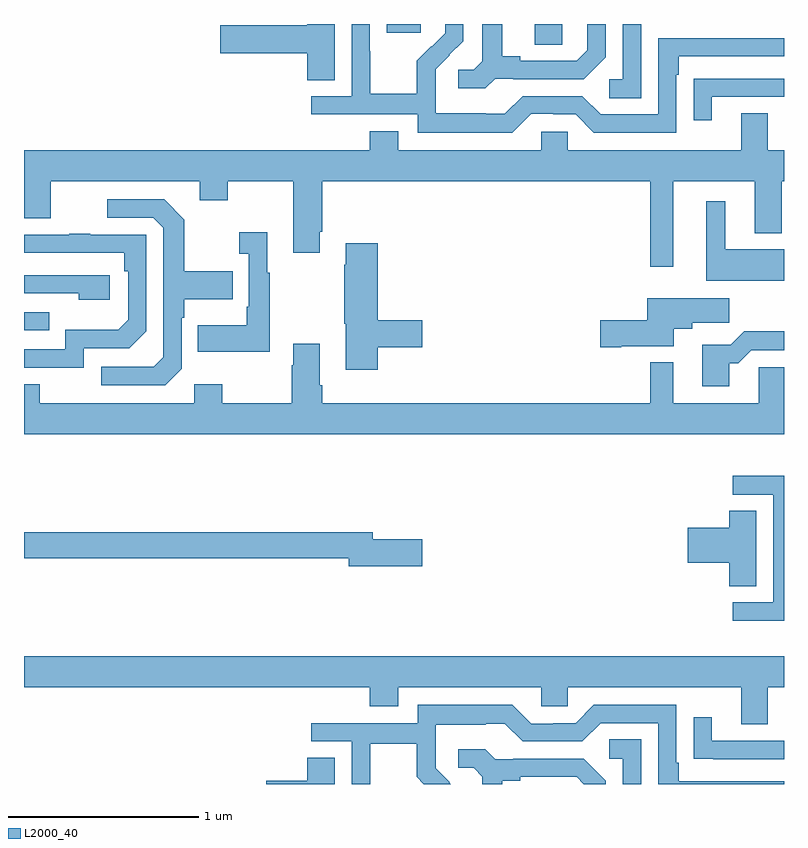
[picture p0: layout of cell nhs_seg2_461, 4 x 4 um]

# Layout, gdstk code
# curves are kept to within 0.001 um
import gdstk
lib = gdstk.Library(unit=1e-6, precision=1e-09)
def R(c, l, rs):  # rectangles x0, y0, x1, y1
    for r in rs: c.add(gdstk.rectangle(r[:2], r[2:], *l))
def P(c, l, *ps):  # polygons
    for p in ps: c.add(gdstk.Polygon(p, *l))
L2000_40 = (2000, 40)

nhs_seg2_461 = lib.new_cell('nhs_seg2_461')
R(nhs_seg2_461, L2000_40, [(133,644.187,133.133,644.283), (135.689,645.691,135.834,645.8), (134.909,645.753,135.088,645.8)])
P(nhs_seg2_461, L2000_40, [(135.48,645.513),(135.574,645.513),(135.574,645.51),(135.946,645.51),(136.062,645.626),(136.062,645.8),(135.965,645.8),(135.965,645.663),(135.908,645.606),(135.613,645.606),(135.613,645.629),(135.517,645.629),(135.517,645.8),(135.413,645.8),(135.413,645.605),(135.366,645.558),(135.285,645.558),(135.285,645.461),(135.428,645.461)],
  [(135.669,645.327),(135.785,645.327),(135.785,645.324),(135.903,645.324),(135.999,645.228),(136.434,645.228),(136.434,645.533),(136.447,645.533),(136.447,645.63),(137,645.63),(137,645.726),(136.338,645.726),(136.338,645.324),(136.035,645.324),(135.939,645.42),(135.624,645.42),(135.531,645.327),(135.431,645.327),(135.431,645.331),(135.168,645.331),(135.168,645.465),(135.166,645.465),(135.166,645.562),(135.312,645.71),(135.312,645.8),(135.218,645.8),(135.218,645.752),(135.147,645.681),(135.144,645.684),(135.067,645.607),(135.067,645.433),(134.823,645.433),(134.823,645.656),(134.82,645.656),(134.82,645.8),(134.724,645.8),(134.724,645.42),(134.511,645.42),(134.511,645.324),(135.072,645.324),(135.072,645.227),(135.569,645.227)],
  [(134.635,645.8),(134.492,645.8),(134.492,645.794),(134.034,645.794),(134.034,645.647),(134.492,645.647),(134.492,645.505),(134.635,645.505)],
  [(136.248,645.8),(136.152,645.8),(136.152,645.51),(136.08,645.51),(136.08,645.409),(136.248,645.409)],
  [(136.621,645.417),(137,645.417),(137,645.513),(136.627,645.513),(136.627,645.512),(136.525,645.512),(136.525,645.294),(136.621,645.294)],
  [(136.417,644.972),(136.847,644.972),(136.847,644.699),(136.987,644.699),(136.987,644.972),(137,644.972),(137,645.136),(136.915,645.136),(136.915,645.331),(136.775,645.331),(136.775,645.136),(135.861,645.136),(135.861,645.234),(135.723,645.234),(135.723,645.136),(134.971,645.136),(134.971,645.235),(134.819,645.235),(134.819,645.136),(133,645.136),(133,644.972),(133.001,644.972),(133.001,644.778),(133.141,644.778),(133.141,644.972),(133.925,644.972),(133.925,644.873),(134.073,644.873),(134.073,644.972),(134.417,644.972),(134.417,644.595),(134.557,644.595),(134.557,644.707),(134.57,644.707),(134.57,644.972),(136.296,644.972),(136.296,644.523),(136.417,644.523)],
  [(133.83,643.986),(133.83,644.255),(133.843,644.255),(133.843,644.351),(134.099,644.351),(134.099,644.499),(133.843,644.499),(133.843,644.771),(133.737,644.877),(133.437,644.877),(133.437,644.781),(133.68,644.781),(133.734,644.727),(133.734,644.046),(133.683,643.995),(133.407,643.995),(133.407,643.899),(133.743,643.899)],
  [(137,644.614),(136.69,644.614),(136.69,644.866),(136.592,644.866),(136.592,644.45),(137,644.45)],
  [(134.293,644.491),(134.281,644.491),(134.281,644.704),(134.133,644.704),(134.133,644.591),(134.184,644.591),(134.184,644.311),(134.172,644.311),(134.172,644.215),(133.915,644.215),(133.915,644.075),(134.293,644.075)],
  [(133.314,644.094),(133.554,644.094),(133.644,644.184),(133.644,644.691),(133.349,644.691),(133.349,644.696),(133.237,644.696),(133.237,644.691),(133,644.691),(133,644.595),(133.528,644.595),(133.528,644.498),(133.548,644.498),(133.548,644.244),(133.495,644.191),(133.218,644.191),(133.218,644.088),(133,644.088),(133,643.992),(133.314,643.992)],
  [(134.861,644.098),(135.097,644.098),(135.097,644.24),(134.861,644.24),(134.861,644.647),(134.693,644.647),(134.693,644.534),(134.686,644.534),(134.686,644.223),(134.693,644.223),(134.693,643.98),(134.861,643.98)],
  [(133.45,644.478),(133,644.478),(133,644.382),(133.289,644.382),(133.289,644.348),(133.45,644.348)],
  [(136.144,644.105),(136.42,644.105),(136.42,644.195),(136.516,644.195),(136.516,644.227),(136.711,644.227),(136.711,644.356),(136.28,644.356),(136.28,644.24),(136.032,644.24),(136.032,644.098),(136.144,644.098)],
  [(136.711,644.015),(136.76,644.015),(136.827,644.082),(137,644.082),(137,644.183),(136.79,644.183),(136.72,644.113),(136.571,644.113),(136.571,643.893),(136.711,643.893)],
  [(137,643.994),(136.866,643.994),(136.866,643.804),(136.417,643.804),(136.417,644.02),(136.296,644.02),(136.296,643.804),(134.57,643.804),(134.57,643.9),(134.557,643.9),(134.557,644.116),(134.417,644.116),(134.417,644.003),(134.41,644.003),(134.41,643.804),(134.043,643.804),(134.043,643.903),(133.896,643.903),(133.896,643.804),(133.083,643.804),(133.083,643.903),(133,643.903),(133,643.64),(137,643.64)],
  [(137,643.422),(136.731,643.422),(136.731,643.323),(136.944,643.323),(136.944,642.756),(136.731,642.756),(136.731,642.66),(137,642.66)],
  [(136.855,643.238),(136.712,643.238),(136.712,643.148),(136.494,643.148),(136.494,642.965),(136.712,642.965),(136.712,642.841),(136.855,642.841)],
  [(135.097,643.088),(134.836,643.088),(134.836,643.124),(133,643.124),(133,642.988),(134.708,642.988),(134.708,642.946),(135.097,642.946)],
  [(136.915,642.308),(137,642.308),(137,642.472),(133,642.472),(133,642.308),(134.819,642.308),(134.819,642.209),(134.971,642.209),(134.971,642.308),(135.723,642.308),(135.723,642.21),(135.861,642.21),(135.861,642.308),(136.775,642.308),(136.775,642.114),(136.915,642.114)],
  [(134.823,642.012),(135.067,642.012),(135.067,641.837),(135.104,641.8),(135.246,641.8),(135.239,641.807),(135.24,641.808),(135.166,641.882),(135.166,641.979),(135.168,641.979),(135.168,642.113),(135.431,642.113),(135.431,642.117),(135.531,642.117),(135.624,642.024),(135.939,642.024),(136.035,642.12),(136.338,642.12),(136.338,641.8),(137,641.8),(137,641.814),(136.447,641.814),(136.447,641.911),(136.434,641.911),(136.434,642.216),(135.999,642.216),(135.903,642.12),(135.785,642.12),(135.785,642.117),(135.669,642.117),(135.569,642.217),(135.072,642.217),(135.072,642.12),(134.511,642.12),(134.511,642.024),(134.724,642.024),(134.724,641.8),(134.823,641.8)],
  [(137,642.027),(136.621,642.027),(136.621,642.151),(136.525,642.151),(136.525,641.932),(136.627,641.932),(136.627,641.931),(137,641.931)],
  [(136.248,642.035),(136.08,642.035),(136.08,641.934),(136.152,641.934),(136.152,641.8),(136.248,641.8)],
  [(135.517,641.816),(135.613,641.816),(135.613,641.838),(135.908,641.838),(135.946,641.8),(136.062,641.8),(136.062,641.818),(135.946,641.934),(135.574,641.934),(135.574,641.931),(135.48,641.931),(135.428,641.983),(135.285,641.983),(135.285,641.886),(135.366,641.886),(135.413,641.839),(135.413,641.8),(135.517,641.8)],
  [(134.635,641.939),(134.492,641.939),(134.492,641.816),(134.274,641.816),(134.274,641.8),(134.635,641.8)])

lib.write_gds('nhs_seg2_461.gds')
